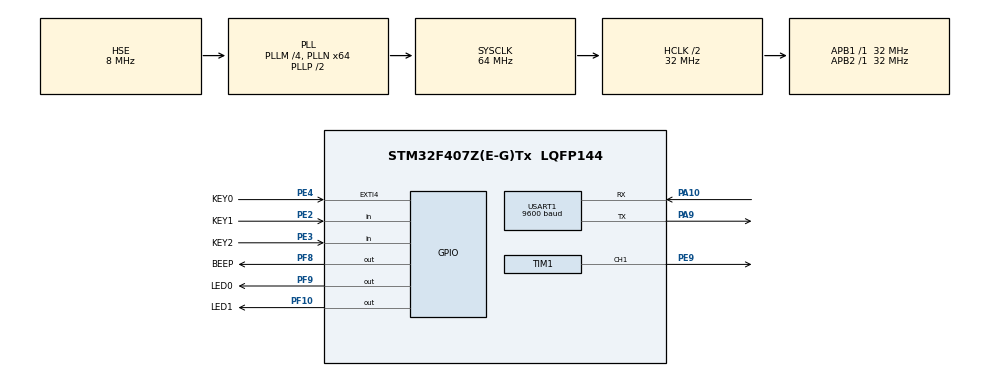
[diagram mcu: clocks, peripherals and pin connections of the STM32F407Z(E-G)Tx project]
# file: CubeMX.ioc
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Dma.Request0=USART1_RX
Dma.Request1=USART1_TX
Dma.USART1_RX.0.Direction=DMA_PERIPH_TO_MEMORY
Dma.USART1_RX.0.FIFOMode=DMA_FIFOMODE_DISABLE
Dma.USART1_RX.0.Instance=DMA2_Stream2
Dma.USART1_RX.0.MemDataAlignment=DMA_MDATAALIGN_BYTE
Dma.USART1_RX.0.MemInc=DMA_MINC_ENABLE
Dma.USART1_RX.0.Mode=DMA_NORMAL
Dma.USART1_RX.0.PeriphDataAlignment=DMA_PDATAALIGN_BYTE
Dma.USART1_RX.0.PeriphInc=DMA_PINC_DISABLE
Dma.USART1_RX.0.Priority=DMA_PRIORITY_LOW
Dma.USART1_TX.1.Direction=DMA_MEMORY_TO_PERIPH
Dma.USART1_TX.1.FIFOMode=DMA_FIFOMODE_DISABLE
Dma.USART1_TX.1.Instance=DMA2_Stream7
Dma.USART1_TX.1.MemDataAlignment=DMA_MDATAALIGN_BYTE
Dma.USART1_TX.1.MemInc=DMA_MINC_ENABLE
Dma.USART1_TX.1.Mode=DMA_NORMAL
Dma.USART1_TX.1.PeriphDataAlignment=DMA_PDATAALIGN_BYTE
Dma.USART1_TX.1.PeriphInc=DMA_PINC_DISABLE
Dma.USART1_TX.1.Priority=DMA_PRIORITY_LOW
Mcu.Family=STM32F4
Mcu.Name=STM32F407Z(E-G)Tx
Mcu.Package=LQFP144
NVIC.DMA2_Stream2_IRQn=true\:1\:0\:true\:false\:true\:false\:true
NVIC.DMA2_Stream7_IRQn=true\:1\:0\:true\:false\:true\:false\:true
NVIC.EXTI4_IRQn=true\:1\:0\:true\:false\:true\:true\:true
NVIC.PVD_IRQn=true\:0\:0\:false\:false\:true\:true\:true
NVIC.PriorityGroup=NVIC_PRIORITYGROUP_4
NVIC.TIM2_IRQn=true\:1\:0\:true\:false\:true\:true\:true
NVIC.USART1_IRQn=true\:1\:0\:true\:false\:true\:true\:true
PA10.Mode=Asynchronous
PA10.Signal=USART1_RX
PA9.Mode=Asynchronous
PA9.Signal=USART1_TX
PC14-OSC32_IN.Mode=LSE-External-Oscillator
PC14-OSC32_IN.Signal=RCC_OSC32_IN
PC15-OSC32_OUT.Mode=LSE-External-Oscillator
PC15-OSC32_OUT.Signal=RCC_OSC32_OUT
PE2.GPIO_Label=KEY1
PE2.GPIO_PuPd=GPIO_PULLUP
PE2.Signal=GPIO_Input
PE3.GPIO_Label=KEY2
PE3.GPIO_PuPd=GPIO_PULLUP
PE3.Signal=GPIO_Input
PE4.GPIO_Label=KEY0
PE4.GPIO_PuPd=GPIO_PULLDOWN
PE4.Signal=GPXTI4
PE9.Signal=S_TIM1_CH1
PF10.GPIO_Label=LED1
PF10.Signal=GPIO_Output
PF8.GPIO_Label=BEEP
PF8.Signal=GPIO_Output
PF9.GPIO_Label=LED0
PF9.Signal=GPIO_Output
PH0-OSC_IN.Mode=HSE-External-Oscillator
PH0-OSC_IN.Signal=RCC_OSC_IN
PH1-OSC_OUT.Mode=HSE-External-Oscillator
PH1-OSC_OUT.Signal=RCC_OSC_OUT
ProjectManager.HeapSize=0x200
ProjectManager.StackSize=0x400
ProjectManager.TargetToolchain=MDK-ARM V5
RCC.48MHZClocksFreq_Value=32000000
RCC.AHBCLKDivider=RCC_SYSCLK_DIV2
RCC.AHBFreq_Value=32000000
RCC.APB1Freq_Value=32000000
RCC.APB1TimFreq_Value=32000000
RCC.APB2Freq_Value=32000000
RCC.APB2TimFreq_Value=32000000
RCC.CortexFreq_Value=32000000
RCC.HCLKFreq_Value=32000000
RCC.HSE_VALUE=8000000
RCC.HSI_VALUE=16000000
RCC.PLLM=4
RCC.PLLN=64
RCC.PLLSourceVirtual=RCC_PLLSOURCE_HSE
RCC.SYSCLKFreq_VALUE=64000000
RCC.SYSCLKSource=RCC_SYSCLKSOURCE_PLLCLK
RCC.VCOOutputFreq_Value=128000000
SH.S_TIM1_CH1.0=TIM1_CH1,PWM Generation1 CH1
TIM1.AutoReloadPreload=TIM_AUTORELOAD_PRELOAD_ENABLE
TIM1.Channel-PWM\ Generation1\ CH1=TIM_CHANNEL_1
TIM1.Period=1000000/1000
TIM1.Prescaler=72000000/1000000-1
TIM1.Pulse-PWM\ Generation1\ CH1=500
TIM2.Period=999
TIM2.Prescaler=31999
USART1.BaudRate=9600
USART1.VirtualMode=VM_ASYNC
VP_TIM1_VS_ClockSourceINT.Mode=Internal
VP_TIM2_VS_ClockSourceINT.Mode=Internal
board=custom

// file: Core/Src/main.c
/* USER CODE BEGIN Header */
/**
  ******************************************************************************
  * @file           : main.c
  * @brief          : Main program body
  ******************************************************************************
  * @attention
  *
  * <h2><center>&copy; Copyright (c) 2021 STMicroelectronics.
  * All rights reserved.</center></h2>
  *
  * This software component is licensed by ST under BSD 3-Clause license,
  * the "License"; You may not use this file except in compliance with the
  * License. You may obtain a copy of the License at:
  *                        opensource.org/licenses/BSD-3-Clause
  *
  ******************************************************************************
  */
/* USER CODE END Header */
#include "main.h"
#include "dma.h"
#include "tim.h"
#include "usart.h"
#include "gpio.h"

/* USER CODE BEGIN Includes */
#include "stdio.h"
#include "ESP8266.h"
//#include "../../MyApplication/MyApplication.h"
//#include "MyApplication.h"
/* USER CODE END Includes */

/* USER CODE BEGIN PV */
//uint8_t Rxbuf[40];
//uint8_t ACKbuf[] = "I'm a ACK package";
int isSerialPort = 0;
/* USER CODE END PV */

void SystemClock_Config(void);
/* USER CODE BEGIN PFP */
void UART_receive_DMA(void);
/* USER CODE END PFP */

/* USER CODE BEGIN 0 */
/*int delayTime = 220;*/
/**
  * @brief  EXTI line detection callbacks.
  * @param  GPIO_Pin Specifies the pins connected EXTI line
  * @retval None
  */
void HAL_GPIO_EXTI_Callback(uint16_t GPIO_Pin) {
    if (GPIO_Pin == KEY0_Pin) {
        /*if (delayTime < 12000) delayTime *= 2;
		else delayTime = 220;*/
		if (!Esp8266HasInited) return;
		if (HAL_GPIO_ReadPin(KEY0_GPIO_Port, KEY0_Pin) == 1) {
			HAL_Delay(30);
			isSerialPort = !isSerialPort;
			HAL_GPIO_TogglePin(GPIOF, LED1_Pin);
		}
		HAL_Delay(30);
    }
}

/**
 * @description: 以阻塞的方式延迟微妙
 * @param {uint32_t} t 延迟时间
 * @return {*}
 */
void Delay_us(uint32_t t) {
    __IO uint32_t Delay = t * 72 / 8;//(SystemCoreClock / 8U / 1000000U)
    //见stm32f1xx_hal_rcc.c -- static void RCC_Delay(uint32_t mdelay)
  do {
    __NOP();
  } while (Delay --);
}

/**
  * @brief  Period elapsed callback in non-blocking mode
  * @param  htim TIM handle
  * @retval None
  */
void HAL_TIM_PeriodElapsedCallback(TIM_HandleTypeDef *htim) {
    if (htim->Instance == TIM2) {                 //处理TIM2间隔定时中断
//        HAL_GPIO_TogglePin(GPIOF, LED1_Pin);
		HAL_GPIO_TogglePin(GPIOF, LED0_Pin);
    }
}

   /*
    * reads at most one less than the number of characters specified by n from
    * the stream pointed to by stream into the array pointed to by s. No
    * additional characters are read after a new-line character (which is
    * retained) or after end-of-file. A null character is written immediately
    * after the last character read into the array.
    * Returns: s if successful. If end-of-file is encountered and no characters
    *          have been read into the array, the contents of the array remain
    *          unchanged and a null pointer is returned. If a read error occurs
    *          during the operation, the array contents are indeterminate and a
    *          null pointer is returned.
    */
int fputc(int ch, FILE* f) {
	//通过查询的方式循环发song
	HAL_UART_Transmit(&huart1, (uint8_t *)&ch, 1, 0x000A);
	return ch;
}

   /*
    * obtains the next character (if present) as an unsigned char converted to
    * an int, from the input stream pointed to by stream, and advances the
    * associated file position indicator (if defined).
    * Returns: the next character from the input stream pointed to by stream.
    *          If the stream is at end-of-file, the end-of-file indicator is
    *          set and fgetc returns EOF. If a read error occurs, the error
    *          indicator is set and fgetc returns EOF.
    */
int fgetc(FILE *f) {
	uint8_t ch = 0;
	HAL_UART_Receive(&huart1, &ch, 1, 0xffff);
	//HAL_UART_Receive_DMA(&huart1, &ch, 1);
	return ch;
}

/*void HAL_UART_RxCpltCallback(UART_HandleTypeDef *UartHandle) {
	if (UartHandle->Instance == USART1) {
		HAL_UART_Transmit_DMA(&huart1, Rxbuf, sizeof(Rxbuf));
		HAL_UART_Receive_DMA(&huart1, Rxbuf, sizeof(Rxbuf));
		//HAL_UART_Transmit_IT(&huart1, Rxbuf, sizeof(Rxbuf));
		//HAL_UART_Receive_IT(&huart1, Rxbuf, sizeof(Rxbuf));
	}
}*/
/* USER CODE END 0 */

int main(void)
{

  /* MCU Configuration--------------------------------------------------------*/

  /* Reset of all peripherals, Initializes the Flash interface and the Systick. */
  HAL_Init();

  /* Configure the system clock */
  SystemClock_Config();

  /* Initialize all configured peripherals */
  MX_GPIO_Init();
  MX_DMA_Init();
  MX_TIM2_Init();
  MX_USART1_UART_Init();
  MX_TIM1_Init();
  /* USER CODE BEGIN 2 */
	HAL_TIM_Base_Start_IT(&htim2);        //启动定时器TIM2
	//HAL_UART_Receive_DMA(&huart1, Rxbuf, sizeof(Rxbuf));
	//HAL_UART_Receive_IT(&huart1, Rxbuf, sizeof(Rxbuf));
	//MyInit.Peripheral_Set();
	ESP8266_ModeInit();
  /* USER CODE END 2 */

  /* Infinite loop */
  /* USER CODE BEGIN WHILE */
  HAL_GPIO_WritePin(GPIOF, LED1_Pin, GPIO_PIN_SET);
  HAL_GPIO_WritePin(GPIOF, LED0_Pin, GPIO_PIN_RESET);
  HAL_GPIO_WritePin(GPIOF, BEEP_Pin, GPIO_PIN_RESET);
  while (1)
  {
    /* USER CODE END WHILE */

    /* USER CODE BEGIN 3 */
		//while (HAL_GPIO_ReadPin(GPIOE, KEY0_Pin));
		//HAL_GPIO_TogglePin(GPIOF, LED1_Pin);
		//HAL_GPIO_TogglePin(GPIOF, LED0_Pin);
		//HAL_GPIO_TogglePin(GPIOF, BEEP_Pin);
	  //HAL_Delay(delayTime);
	  //HAL_GPIO_TogglePin(GPIOF, BEEP_Pin);
	  //Delay_us(1.0/delayTime*500000);
		UART_receive_DMA();
	  //System.Run();
  }
  /* USER CODE END 3 */
}

void SystemClock_Config(void)
{
  RCC_OscInitTypeDef RCC_OscInitStruct = {0};
  RCC_ClkInitTypeDef RCC_ClkInitStruct = {0};

  /** Configure the main internal regulator output voltage
  */
  __HAL_RCC_PWR_CLK_ENABLE();
  __HAL_PWR_VOLTAGESCALING_CONFIG(PWR_REGULATOR_VOLTAGE_SCALE1);
  /** Initializes the RCC Oscillators according to the specified parameters
  * in the RCC_OscInitTypeDef structure.
  */
  RCC_OscInitStruct.OscillatorType = RCC_OSCILLATORTYPE_HSE;
  RCC_OscInitStruct.HSEState = RCC_HSE_ON;
  RCC_OscInitStruct.PLL.PLLState = RCC_PLL_ON;
  RCC_OscInitStruct.PLL.PLLSource = RCC_PLLSOURCE_HSE;
  RCC_OscInitStruct.PLL.PLLM = 4;
  RCC_OscInitStruct.PLL.PLLN = 64;
  RCC_OscInitStruct.PLL.PLLP = RCC_PLLP_DIV2;
  RCC_OscInitStruct.PLL.PLLQ = 4;
  if (HAL_RCC_OscConfig(&RCC_OscInitStruct) != HAL_OK)
  {
    Error_Handler();
  }
  /** Initializes the CPU, AHB and APB buses clocks
  */
  RCC_ClkInitStruct.ClockType = RCC_CLOCKTYPE_HCLK|RCC_CLOCKTYPE_SYSCLK
                              |RCC_CLOCKTYPE_PCLK1|RCC_CLOCKTYPE_PCLK2;
  RCC_ClkInitStruct.SYSCLKSource = RCC_SYSCLKSOURCE_PLLCLK;
  RCC_ClkInitStruct.AHBCLKDivider = RCC_SYSCLK_DIV2;
  RCC_ClkInitStruct.APB1CLKDivider = RCC_HCLK_DIV1;
  RCC_ClkInitStruct.APB2CLKDivider = RCC_HCLK_DIV1;

  if (HAL_RCC_ClockConfig(&RCC_ClkInitStruct, FLASH_LATENCY_1) != HAL_OK)
  {
    Error_Handler();
  }
}

void Error_Handler(void)
{
  __disable_irq();
  while (1)
  {
  }
}

/************************ (C) COPYRIGHT STMicroelectronics *****END OF FILE****/
